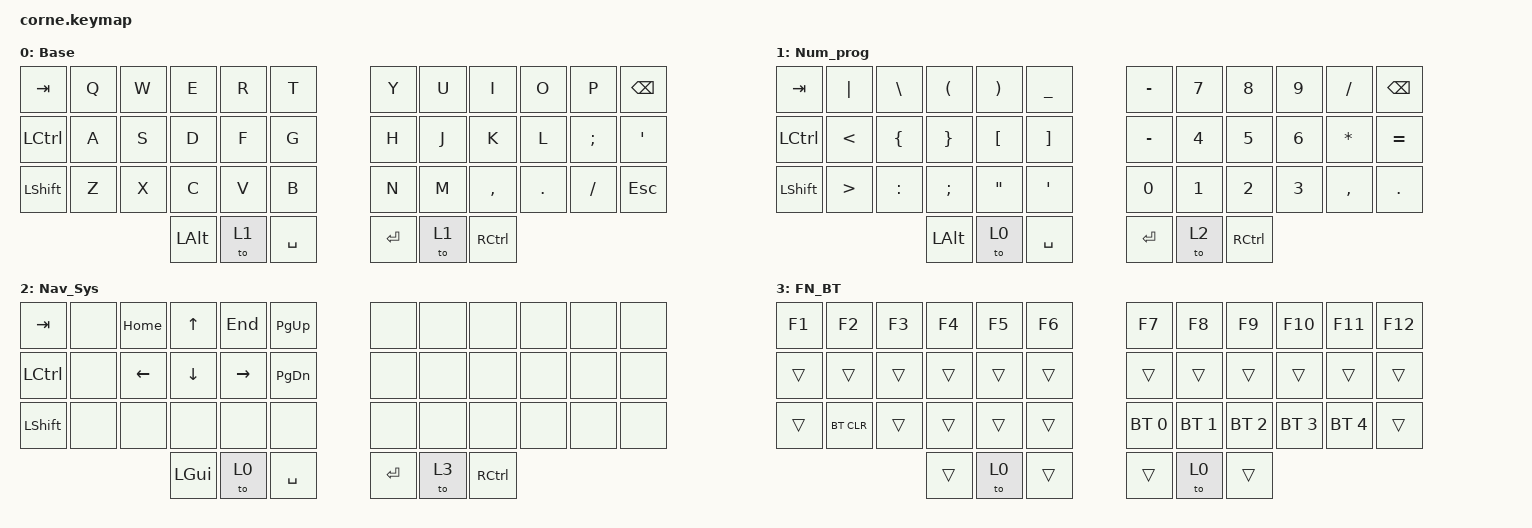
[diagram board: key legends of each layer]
/*
 * Copyright (c) 2020 The ZMK Contributors
 *
 * SPDX-License-Identifier: MIT
 */

#include <behaviors.dtsi>
#include <dt-bindings/zmk/bt.h>
#include <dt-bindings/zmk/keys.h>

/ {
    behaviors {
        tp: tap_preferred {
            compatible = "zmk,behavior-hold-tap";
            label = "TAP_PREFERRED";
            #binding-cells = <2>;
            tapping-term-ms = <150>;
            quick-tap-ms = <0>;
            flavor = "tap-preferred";
            bindings = <&kp>, <&kp>;
        };
    };

    keymap {
        compatible = "zmk,keymap";

        Base {
            // -----------------------------------------------------------------------------------------
            // | TAB  |  Q  |  W  |  E  |  R  |    T    |   |  Y  |  U   |  I  |  O  |  P  | ESC |
            // | CTRL |  A  |  S  |  D  |  F  |    G    |   |  H  |  J   |  K  |  L  |  ;  |  LWR/'   |
            // | SHFT |  Z  |  X  |  C  |  V  |    B    |   |  N  |  M   |  ,  |  .  |  /  | SHFT |
            //                    | GUI | LWR | ALT/ENT |   | HYPER/SPC | BKSP  | RSE |

            bindings = <
&kp TAB    &kp Q  &kp W  &kp E         &kp R  &kp T        &kp Y      &kp U  &kp I      &kp O    &kp P     &kp BACKSPACE
&kp LCTRL  &kp A  &kp S  &kp D         &kp F  &kp G        &kp H      &kp J  &kp K      &kp L    &kp SEMI  &kp SQT
&kp LSHFT  &kp Z  &kp X  &kp C         &kp V  &kp B        &kp N      &kp M  &kp COMMA  &kp DOT  &kp FSLH  &kp ESC
                         &kp LEFT_ALT  &to 1  &kp SPACE    &kp ENTER  &to 1  &kp RCTRL
            >;
        };

        Num_prog {
            // -----------------------------------------------------------------------------------------
            // |      |  !  |  @  |  #  |  $  |    %     |   |  ^  |  &  |  *  |  (  |  )  |   \   |
            // |      |  1  |  2  |  3  |  4  |    5     |   |  -  |  =  |  `  |  [  |  ]  |  "|"  |
            // | SHFT |  6  |  7  |  8  |  9  |    0     |   |  _  |  +  |  ~  |  {  |  }  | RSHFT |
            //                     | GUI |     | ALT/ENT |   | HYPER/SPACE | BKSP |    |

            bindings = <
&kp TAB    &kp PIPE  &kp BSLH   &kp LPAR  &kp RPAR           &kp UNDER    &kp MINUS  &kp N7  &kp N8     &kp N9  &kp FSLH      &kp BACKSPACE
&kp LCTRL  &kp LT    &kp LBRC   &kp RBRC  &kp LBKT           &kp RBKT     &kp MINUS  &kp N4  &kp N5     &kp N6  &kp ASTERISK  &kp EQUAL
&kp LSHFT  &kp GT    &kp COLON  &kp SEMI  &kp DOUBLE_QUOTES  &kp SQT      &kp N0     &kp N1  &kp N2     &kp N3  &kp COMMA     &kp DOT
                                &kp LALT  &to 0              &kp SPACE    &kp ENTER  &to 2   &kp RCTRL
            >;
        };

        Nav_Sys {
            // -----------------------------------------------------------------------------------------
            // |       |  F1  |  F2  |  F3  |  F4  |  F5 |            |  F6  |  F7  |  F8  |  F9  |  F10  |   |
            // |       | Prev | Next | Vol - | Vol + | Play/Pause |   |      | LFT | DWN |  UP | RGT |     |     |
            // | BTCLR | BT1 | BT2 | BT3 | BT4 | BT5 |   |            |     |     |     |     |     |     |
            //                    |     |     |    |                  |     |     |     |

            bindings = <
&kp TAB     &none  &kp HOME  &kp UP    &kp END    &kp PG_UP        &none      &none  &none      &none  &none  &none
&kp LCTRL   &none  &kp LEFT  &kp DOWN  &kp RIGHT  &kp PAGE_DOWN    &none      &none  &none      &none  &none  &none
&kp LSHIFT  &none  &none     &none     &none      &none            &none      &none  &none      &none  &none  &none
                             &kp LGUI  &to 0      &kp SPACE        &kp ENTER  &to 3  &kp RCTRL
            >;
        };

        FN_BT {
            bindings = <
&kp F1  &kp F2      &kp F3  &kp F4  &kp F5  &kp F6    &kp F7        &kp F8        &kp F9        &kp F10       &kp F11       &kp F12
&trans  &trans      &trans  &trans  &trans  &trans    &trans        &trans        &trans        &trans        &trans        &trans
&trans  &bt BT_CLR  &trans  &trans  &trans  &trans    &bt BT_SEL 0  &bt BT_SEL 1  &bt BT_SEL 2  &bt BT_SEL 3  &bt BT_SEL 4  &trans
                            &trans  &to 0   &trans    &trans        &to 0         &trans
            >;
        };
    };
};
